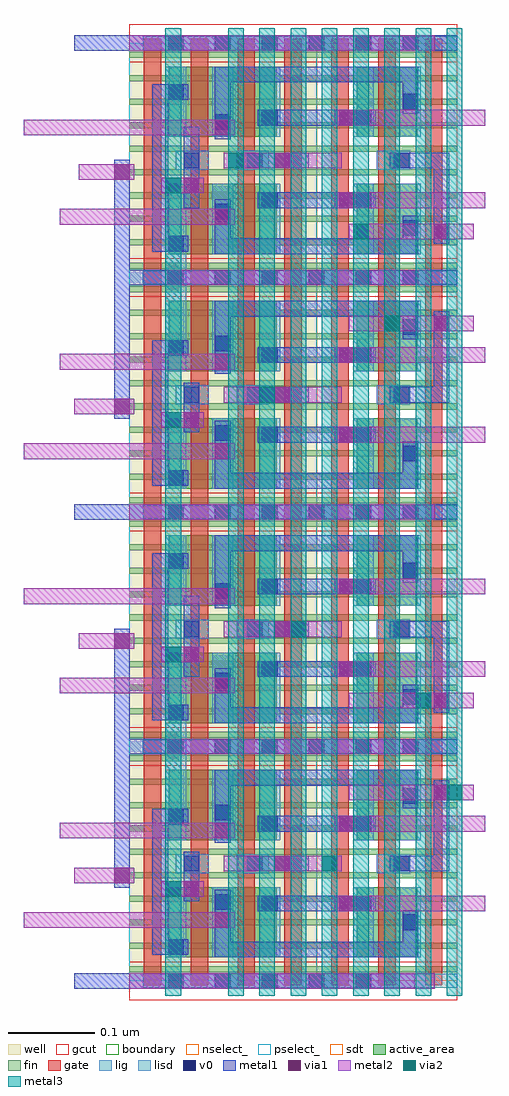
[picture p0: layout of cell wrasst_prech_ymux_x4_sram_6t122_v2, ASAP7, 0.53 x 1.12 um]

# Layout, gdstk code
import gdstk
lib = gdstk.Library(unit=1e-6, precision=2.5e-10)
def R(c, l, rs):  # rectangles x0, y0, x1, y1
    for r in rs: c.add(gdstk.rectangle(r[:2], r[2:], *l))
def A(c, l, x, y, w, h, nx, ny, dx, dy):  # array of equal rectangles
    R(c, l, [(x+i*dx, y+j*dy, x+i*dx+w, y+j*dy+h) for i in range(nx) for j in range(ny)])
well = (1, 0)
fin = (2, 0)
gate = (7, 0)
gcut = (10, 0)
active_area = (11, 0)
nselect_ = (12, 0)
pselect_ = (13, 0)
lig = (16, 0)
lisd = (17, 0)
v0 = (18, 0)
metal1 = (19, 0)
metal2 = (20, 0)
via1 = (21, 0)
via2 = (25, 0)
metal3 = (30, 0)
sdt = (88, 0)
boundary = (100, 0)

sram_prech_ymux_6t112_v2 = lib.new_cell('sram_prech_ymux_6t112_v2')
R(sram_prech_ymux_6t112_v2, well, [(0,0,0.216,0.27)])
A(sram_prech_ymux_6t112_v2, fin, 0, 0.01, 0.216, 0.007, 1, 10, 0, 0.027)
A(sram_prech_ymux_6t112_v2, fin, 0.216, 0.01, 0.162, 0.007, 1, 10, 0, 0.027)
A(sram_prech_ymux_6t112_v2, gate, 0.017, -0.0055, 0.02, 0.2805, 3, 1, 0.054, 0)
A(sram_prech_ymux_6t112_v2, gate, 0.125, -0.0055, 0.02, 0.2805, 4, 1, 0.054, 0)
R(sram_prech_ymux_6t112_v2, gate, [(0.287,-0.0055,0.307,0.275), (0.341,-0.0055,0.361,0.275), (0.341,-0.0055,0.361,0.275)])
R(sram_prech_ymux_6t112_v2, gcut, [(0,-0.022,0.378,0.022), (0,0.248,0.378,0.292)])
R(sram_prech_ymux_6t112_v2, active_area, [(0.046,0.027,0.17,0.108), (0.262,0.027,0.332,0.108), (0.046,0.162,0.17,0.243), (0.262,0.162,0.332,0.243)])
R(sram_prech_ymux_6t112_v2, nselect_, [(0.216,0,0.378,0.27)])
R(sram_prech_ymux_6t112_v2, pselect_, [(0,0,0.216,0.27)])
R(sram_prech_ymux_6t112_v2, lig, [(0.016,-0.008,0.378,0.008), (0.054,0.124,0.092,0.146), (0.124,0.124,0.161,0.146), (0.285,0.124,0.324,0.146), (0.016,0.262,0.378,0.278)])
A(sram_prech_ymux_6t112_v2, lisd, 0.042, 0.162, 0.024, 0.081, 3, 1, 0.054, 0)
R(sram_prech_ymux_6t112_v2, lisd, [(0.042,0,0.066,0.108), (0.096,0.027,0.12,0.108), (0.15,0.027,0.174,0.108), (0.258,0.027,0.282,0.108), (0.312,0.027,0.336,0.108), (0.258,0.162,0.282,0.243), (0.312,0.162,0.336,0.243)])
A(sram_prech_ymux_6t112_v2, v0, 0.045, -0.009, 0.018, 0.018, 6, 2, 0.054, 0.27)
R(sram_prech_ymux_6t112_v2, v0, [(0.045,-0.009,0.063,0.009), (0.045,0.03,0.063,0.048), (0.315,0.048,0.333,0.066), (0.099,0.067,0.117,0.085), (0.153,0.08,0.171,0.098), (0.261,0.08,0.279,0.098), (0.063,0.126,0.081,0.144), (0.136,0.126,0.154,0.144), (0.305,0.126,0.323,0.144), (0.099,0.17,0.117,0.188), (0.153,0.175,0.171,0.193), (0.261,0.175,0.279,0.193), (0.315,0.1935,0.333,0.2115), (0.045,0.2045,0.063,0.2225), (0.045,0.261,0.063,0.279)])
R(sram_prech_ymux_6t112_v2, metal1, [(-0.017,-0.009,0.001,0.1355), (0,-0.009,0.216,0.009), (0.216,-0.009,0.341,0.009), (0.099,0.027,0.333,0.045), (0.099,0.027,0.117,0.09), (0.315,0.027,0.333,0.071), (0.027,0.03,0.045,0.2225), (0.027,0.03,0.068,0.048), (0.351,0.039,0.369,0.144), (0.063,0.08,0.081,0.1735), (0.148,0.08,0.284,0.098), (0.136,0.126,0.207,0.144), (0.3,0.126,0.366,0.144), (0.099,0.159,0.117,0.243), (0.148,0.175,0.284,0.193), (0.315,0.1885,0.333,0.243), (0.027,0.2045,0.068,0.2225), (0.099,0.225,0.333,0.243), (-0.063,0.261,0.378,0.279)])
R(sram_prech_ymux_6t112_v2, metal2, [(0.044,-0.009,0.348,0.009), (0.253,0.044,0.397,0.062), (-0.08,0.061,0.122,0.079), (0.237,0.08,0.41,0.098), (0.037,0.097,0.086,0.115), (-0.058,0.1125,0.006,0.1305), (0.109,0.126,0.245,0.144), (-0.121,0.164,0.122,0.182), (0.237,0.175,0.41,0.193), (0,0.261,0.352,0.279)])
R(sram_prech_ymux_6t112_v2, via1, [(0.351,0.044,0.369,0.062), (0.099,0.061,0.117,0.079), (0.242,0.08,0.26,0.098), (0.063,0.097,0.081,0.115), (-0.017,0.1125,0.001,0.1305), (0.167,0.126,0.185,0.144), (0.099,0.164,0.117,0.182), (0.242,0.175,0.26,0.193)])
R(sram_prech_ymux_6t112_v2, via2, [(0.042,0.097,0.06,0.115)])
A(sram_prech_ymux_6t112_v2, metal3, 0.114, -0.012, 0.018, 0.299, 8, 1, 0.036, 0)
R(sram_prech_ymux_6t112_v2, metal3, [(0.042,-0.012,0.06,0.287)])
A(sram_prech_ymux_6t112_v2, sdt, 0.042, 0.027, 0.024, 0.081, 3, 2, 0.054, 0.135)
R(sram_prech_ymux_6t112_v2, sdt, [(0.258,0.027,0.282,0.108), (0.312,0.027,0.336,0.108), (0.258,0.162,0.282,0.243), (0.312,0.162,0.336,0.243)])
R(sram_prech_ymux_6t112_v2, boundary, [(0,0,0.378,0.27)])
sram_prech_ymux_6t112_v2.add(gdstk.Label('bln', (0.008,0.174), layer=20, texttype=251))
sram_prech_ymux_6t112_v2.add(gdstk.Label('san', (0.355,0.1835), layer=20, texttype=251))
sram_prech_ymux_6t112_v2.add(gdstk.Label('yseln', (0.209,0.133), layer=20, texttype=251))
sram_prech_ymux_6t112_v2.add(gdstk.Label('blprechn', (0.058,0.105), layer=20, texttype=251))
sram_prech_ymux_6t112_v2.add(gdstk.Label('ysel', (0.355,0.0525), layer=20, texttype=251))
sram_prech_ymux_6t112_v2.add(gdstk.Label('bl', (0.009,0.0715), layer=20, texttype=251))
sram_prech_ymux_6t112_v2.add(gdstk.Label('sa', (0.355,0.09), layer=20, texttype=251))
sram_prech_ymux_6t112_v2.add(gdstk.Label('vss!', (0.327,0.1595), layer=3, texttype=251))
sram_prech_ymux_6t112_v2.add(gdstk.Label('vdd!', (0.183,0.057), layer=1, texttype=251))
sram_prech_ymux_6t112_v2.add(gdstk.Label('vdd!', (0.042,-0.0015), layer=19, texttype=251))
sram_prech_ymux_6t112_v2.add(gdstk.Label('vss!', (0.029,0.2715), layer=19, texttype=251))

sram_prech_ymux_6t112_v1 = lib.new_cell('sram_prech_ymux_6t112_v1')
R(sram_prech_ymux_6t112_v1, well, [(0,0,0.216,0.27)])
A(sram_prech_ymux_6t112_v1, fin, 0, 0.01, 0.216, 0.007, 1, 10, 0, 0.027)
A(sram_prech_ymux_6t112_v1, fin, 0.216, 0.01, 0.162, 0.007, 1, 10, 0, 0.027)
A(sram_prech_ymux_6t112_v1, gate, 0.017, -0.005, 0.02, 0.2805, 3, 1, 0.054, 0)
A(sram_prech_ymux_6t112_v1, gate, 0.125, -0.005, 0.02, 0.2805, 4, 1, 0.054, 0)
R(sram_prech_ymux_6t112_v1, gate, [(0.287,-0.005,0.307,0.2755), (0.341,-0.005,0.361,0.2755), (0.341,-0.005,0.361,0.2755)])
R(sram_prech_ymux_6t112_v1, gcut, [(0,-0.022,0.378,0.022), (0,0.248,0.378,0.292)])
R(sram_prech_ymux_6t112_v1, active_area, [(0.046,0.027,0.17,0.108), (0.262,0.027,0.332,0.108), (0.046,0.162,0.17,0.243), (0.262,0.162,0.332,0.243)])
R(sram_prech_ymux_6t112_v1, nselect_, [(0.216,0,0.378,0.27)])
R(sram_prech_ymux_6t112_v1, pselect_, [(0,0,0.216,0.27)])
R(sram_prech_ymux_6t112_v1, lig, [(0.016,-0.008,0.378,0.008), (0.054,0.124,0.092,0.146), (0.124,0.124,0.161,0.146), (0.285,0.124,0.324,0.146), (0.016,0.262,0.378,0.278)])
A(sram_prech_ymux_6t112_v1, lisd, 0.042, 0.027, 0.024, 0.081, 3, 1, 0.054, 0)
R(sram_prech_ymux_6t112_v1, lisd, [(0.258,0.027,0.282,0.108), (0.312,0.027,0.336,0.108), (0.042,0.162,0.066,0.27), (0.096,0.162,0.12,0.243), (0.15,0.162,0.174,0.243), (0.258,0.162,0.282,0.243), (0.312,0.162,0.336,0.243)])
A(sram_prech_ymux_6t112_v1, v0, 0.045, -0.009, 0.018, 0.018, 5, 1, 0.054, 0)
A(sram_prech_ymux_6t112_v1, v0, 0.045, 0.261, 0.018, 0.018, 6, 1, 0.054, 0)
R(sram_prech_ymux_6t112_v1, v0, [(0.045,0.03,0.063,0.048), (0.315,0.0585,0.333,0.0765), (0.153,0.08,0.171,0.098), (0.261,0.08,0.279,0.098), (0.099,0.082,0.117,0.1), (0.063,0.126,0.081,0.144), (0.136,0.126,0.154,0.144), (0.305,0.126,0.323,0.144), (0.153,0.172,0.171,0.19), (0.261,0.172,0.279,0.19), (0.045,0.18,0.063,0.198), (0.099,0.185,0.117,0.203), (0.315,0.204,0.333,0.222), (0.045,0.261,0.063,0.279)])
R(sram_prech_ymux_6t112_v1, metal1, [(-0.063,-0.009,0.329,0.009), (0.099,0.027,0.333,0.045), (0.099,0.027,0.117,0.105), (0.315,0.027,0.333,0.0815), (0.027,0.03,0.045,0.198), (0.027,0.03,0.068,0.048), (0.148,0.08,0.284,0.098), (0.063,0.092,0.081,0.149), (-0.017,0.1075,0.001,0.279), (0.136,0.126,0.207,0.144), (0.3,0.126,0.366,0.144), (0.351,0.126,0.369,0.231), (0.099,0.159,0.117,0.243), (0.148,0.172,0.284,0.19), (0.027,0.18,0.068,0.198), (0.315,0.199,0.333,0.243), (0.099,0.225,0.333,0.243), (0,0.261,0.216,0.279), (0.216,0.261,0.378,0.279)])
R(sram_prech_ymux_6t112_v1, metal2, [(0,-0.009,0.352,0.009), (-0.121,0.061,0.122,0.079), (0.237,0.08,0.41,0.098), (0.037,0.097,0.086,0.115), (-0.063,0.1125,0.006,0.1305), (0.109,0.126,0.245,0.144), (-0.08,0.164,0.122,0.182), (0.237,0.172,0.41,0.19), (0.253,0.208,0.397,0.226), (0.044,0.261,0.348,0.279)])
R(sram_prech_ymux_6t112_v1, via1, [(0.099,0.061,0.117,0.079), (0.242,0.08,0.26,0.098), (0.063,0.097,0.081,0.115), (-0.017,0.1125,0.001,0.1305), (0.167,0.126,0.185,0.144), (0.099,0.164,0.117,0.182), (0.242,0.172,0.26,0.19), (0.351,0.208,0.369,0.226)])
R(sram_prech_ymux_6t112_v1, via2, [(0.042,0.097,0.06,0.115)])
A(sram_prech_ymux_6t112_v1, metal3, 0.114, -0.017, 0.018, 0.299, 8, 1, 0.036, 0)
R(sram_prech_ymux_6t112_v1, metal3, [(0.042,-0.017,0.06,0.282)])
A(sram_prech_ymux_6t112_v1, sdt, 0.042, 0.027, 0.024, 0.081, 3, 2, 0.054, 0.135)
R(sram_prech_ymux_6t112_v1, sdt, [(0.258,0.027,0.282,0.108), (0.312,0.027,0.336,0.108), (0.258,0.162,0.282,0.243), (0.312,0.162,0.336,0.243)])
R(sram_prech_ymux_6t112_v1, boundary, [(0,0,0.378,0.27)])
sram_prech_ymux_6t112_v1.add(gdstk.Label('bln', (0.008,0.0715), layer=20, texttype=251))
sram_prech_ymux_6t112_v1.add(gdstk.Label('san', (0.355,0.0895), layer=20, texttype=251))
sram_prech_ymux_6t112_v1.add(gdstk.Label('yseln', (0.209,0.137), layer=20, texttype=251))
sram_prech_ymux_6t112_v1.add(gdstk.Label('blprechn', (0.058,0.1095), layer=20, texttype=251))
sram_prech_ymux_6t112_v1.add(gdstk.Label('ysel', (0.355,0.2175), layer=20, texttype=251))
sram_prech_ymux_6t112_v1.add(gdstk.Label('bl', (0.009,0.176), layer=20, texttype=251))
sram_prech_ymux_6t112_v1.add(gdstk.Label('sa', (0.355,0.18), layer=20, texttype=251))
sram_prech_ymux_6t112_v1.add(gdstk.Label('vss!', (0.311,0.086), layer=3, texttype=251))
sram_prech_ymux_6t112_v1.add(gdstk.Label('vdd!', (0.183,0.213), layer=1, texttype=251))
sram_prech_ymux_6t112_v1.add(gdstk.Label('vdd!', (0.042,0.2715), layer=19, texttype=251))
sram_prech_ymux_6t112_v1.add(gdstk.Label('vss!', (0.029,-0.0015), layer=19, texttype=251))

wrasst_prech_ymux_x4_sra = lib.new_cell('wrasst_prech_ymux_x4_sram_6t122_v2')
R(wrasst_prech_ymux_x4_sra, via2, [(0.222,0.1395,0.24,0.1575), (0.366,0.2215,0.384,0.2395), (0.33,0.3275,0.348,0.3455), (0.186,0.4095,0.204,0.4275), (0.15,0.6795,0.168,0.6975), (0.294,0.7615,0.312,0.7795), (0.258,0.8675,0.276,0.8855), (0.114,0.9495,0.132,0.9675)])
wrasst_prech_ymux_x4_sra.add(gdstk.Reference(sram_prech_ymux_6t112_v2, (0,0.8235)))
wrasst_prech_ymux_x4_sra.add(gdstk.Reference(sram_prech_ymux_6t112_v2, (0,0.2835)))
wrasst_prech_ymux_x4_sra.add(gdstk.Reference(sram_prech_ymux_6t112_v1, (0,0.0135)))
wrasst_prech_ymux_x4_sra.add(gdstk.Reference(sram_prech_ymux_6t112_v1, (0,0.5535)))

lib.write_gds('wrasst_prech_ymux_x4_sram_6t122_v2.gds')
